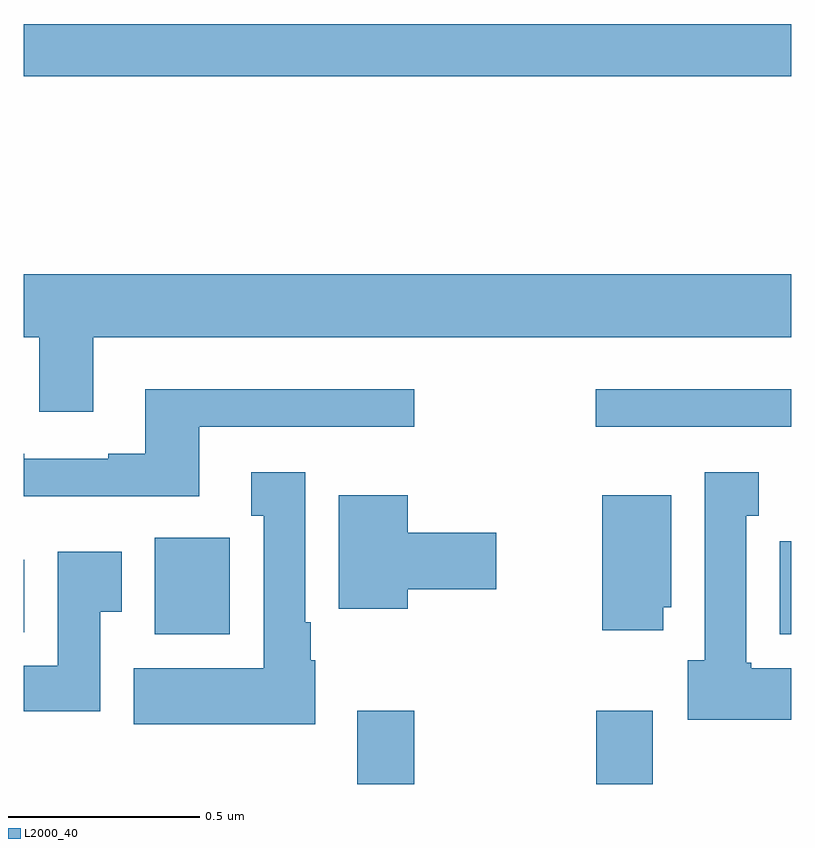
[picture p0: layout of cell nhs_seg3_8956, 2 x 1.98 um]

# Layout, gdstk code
import gdstk
lib = gdstk.Library(unit=1e-6, precision=1e-09)
def R(c, l, rs):  # rectangles x0, y0, x1, y1
    for r in rs: c.add(gdstk.rectangle(r[:2], r[2:], *l))
def P(c, l, *ps):  # polygons
    for p in ps: c.add(gdstk.Polygon(p, *l))
L2000_40 = (2000, 40)

nhs_seg3_8956 = lib.new_cell('nhs_seg3_8956')
R(nhs_seg3_8956, L2000_40, [(222.869,718.4,223.017,718.591), (223.492,718.4,223.639,718.591), (222.341,718.79,222.537,719.041), (223.97,718.79,224,719.032), (222,718.796,222.001,718.984), (223.491,719.331,224,719.428), (222,720.244,224,720.38)])
P(nhs_seg3_8956, L2000_40, [(222.181,719.564),(224,719.564),(224,719.728),(222,719.728),(222,719.564),(222.041,719.564),(222.041,719.37),(222.181,719.37)],
  [(222.457,719.331),(223.018,719.331),(223.018,719.428),(222.317,719.428),(222.317,719.26),(222.221,719.26),(222.221,719.247),(222.001,719.247),(222.001,719.26),(222,719.26),(222,719.15),(222.457,719.15)],
  [(224,718.702),(223.896,718.702),(223.896,718.716),(223.882,718.716),(223.882,719.099),(223.915,719.099),(223.915,719.212),(223.775,719.212),(223.775,718.722),(223.73,718.722),(223.73,718.568),(224,718.568)],
  [(222.76,718.722),(222.748,718.722),(222.748,718.822),(222.733,718.822),(222.733,719.212),(222.593,719.212),(222.593,719.099),(222.626,719.099),(222.626,718.702),(222.287,718.702),(222.287,718.556),(222.76,718.556)],
  [(223,718.907),(223.231,718.907),(223.231,719.054),(223,719.054),(223,719.152),(222.821,719.152),(222.821,718.856),(223,718.856)],
  [(223.666,718.86),(223.687,718.86),(223.687,719.152),(223.508,719.152),(223.508,718.8),(223.666,718.8)],
  [(222.199,718.849),(222.256,718.849),(222.256,719.005),(222.089,719.005),(222.089,718.708),(222,718.708),(222,718.59),(222.199,718.59)])

lib.write_gds('nhs_seg3_8956.gds')
